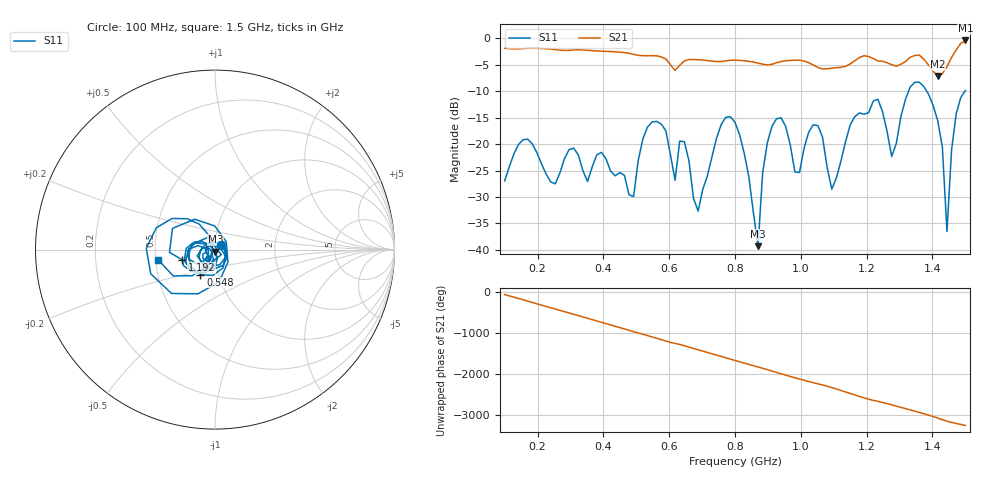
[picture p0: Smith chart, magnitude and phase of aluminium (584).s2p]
! NanoVNA-App
! Date: 2025-09-25 14:59:49
! Start: 100MHz Stop: 1,5GHz Points: 101
! S-Parameter data: F S11 S21 S12 S22
# Hz S RI R 50
!  Frequency  S11_Real  S11_Imag  S21_Real  S21_Imag  S12_Real  S12_Imag  S22_Real  S22_Imag
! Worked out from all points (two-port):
!   101 points, 100 MHz to 1.5 GHz, reference 50 ohm
!   highest |S21| = -0.44 dB at 1.5 GHz (marker M1); lowest = -7.2 dB at 1.416 GHz (marker M2)
!   |S21| within 3 dB of the highest: start of sweep to 568.8 MHz; 1.46 GHz to end of sweep (the widest 2 of 4)
!   lowest |S11| = -39.3 dB at 870 MHz (marker M3), VSWR 1.02, Z = 50.2 - j1.07 ohm
!   |S11| at or under -10 dB: start of sweep to 1.328 GHz; 1.382 GHz to 1.499 GHz (116.5 MHz wide, 8.09 % of centre)
!   S12 and S22 are empty: the file has one direction only
!   S11 on the Smith chart (normalised r, x): 100 MHz: 1.07, +0.06; 548 MHz: 0.82, -0.24; 1.192 GHz: 0.69, -0.08; 1.5 GHz: 0.52, -0.07
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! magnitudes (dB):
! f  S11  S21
! 100 MHz  -27.0  -1.9
! 156 MHz  -19.2  -2.0
! 338 MHz  -25.1  -2.2
! 492 MHz  -29.9  -3.1
! 548 MHz  -15.8  -3.3
! 576 MHz  -16.2  -3.5
! 618 MHz  -26.8  -6.1
! 646 MHz  -19.6  -4.3
! 688 MHz  -32.6  -4.1
! 800 MHz  -15.9  -4.1
! 870 MHz  -39.3  -4.7
! 912 MHz  -16.7  -4.9
! 996 MHz  -25.4  -4.2
! 1.038 GHz  -16.3  -5.1
! 1.094 GHz  -28.5  -5.7
! 1.192 GHz  -14.4  -3.3
! 1.276 GHz  -22.3  -5.0
! 1.346 GHz  -8.3  -3.3
! 1.416 GHz  -15.6  -7.2
! 1.444 GHz  -36.5  -5.4
! 1.472 GHz  -14.3  -2.2
! 1.5 GHz  -9.9  -0.4
